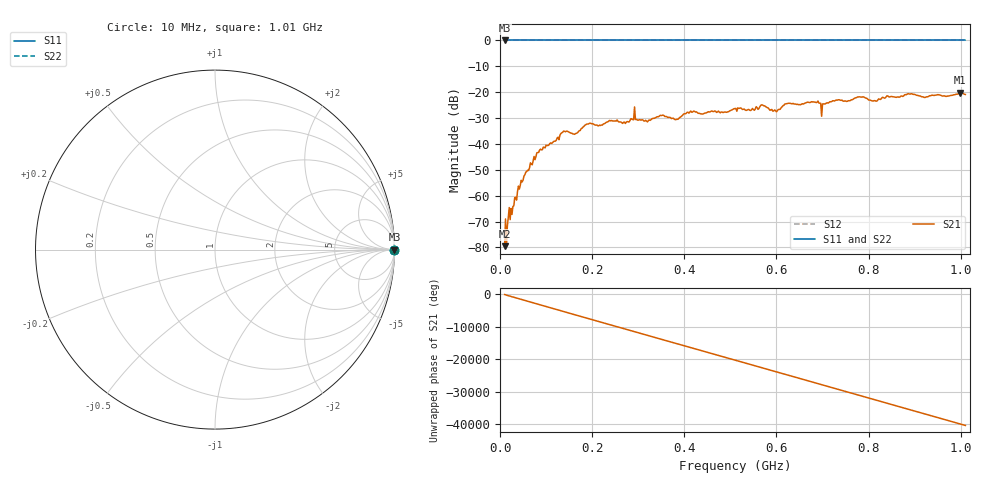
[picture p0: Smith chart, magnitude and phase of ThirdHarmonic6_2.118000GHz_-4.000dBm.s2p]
! 8/17/2025 1:19:12 AM
! C:\ANRITSUVNA\TEMP\TEMP.S2P
! CHANNEL.1
! TR.MEASUREMENT
! RAW.DATA
! RF.CORRECTION.OFF
! AVERAGING.OFF
! IF.BANDWIDTH: 5KHZ
! SWEEPTYPE:  FREQ.SWEEP(Linear)
! Reference Plane Port Info
! PORT:  PORT1  PORT2
! DISTANCE:  0  m  0  m
! TIME:  0  s  0  s
! PHASE.OFFSET:  0  deg.  0  deg.
! LOSS:  0  dB  0  dB
! REF.LOSS:  0  dB  0  dB
! REF.FREQ:  0  Hz  0  Hz
! Power Info
! POWER:  -20  dBm  -20  dBm
! EFF.POWER:  -20  dBm  -20  dBm
! SOURCE.ATTEN:  0  dB  0  dB
! TEST.ATTEN:  0  dB  0  dB
# GHZ S RI R 50.0
! FREQ.GHZ  S11RE  S11IM  S21RE  S21IM  S12RE  S12IM  S22RE  S22IM
!; PortSelection: Port_12
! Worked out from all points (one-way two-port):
!   501 points, 10 MHz to 1.01 GHz, reference 50 ohm
!   highest |S21| = -20.18 dB at 998 MHz (marker M1); lowest = -79.5 dB at 10 MHz (marker M2)
!   lowest |S11| = 0.0 dB at 10 MHz (marker M3)
!   |S11| at or under -10 dB: nowhere
!   |S22| runs from 0.0 to 0.0 dB; largest |S21 - S12| = 1.1
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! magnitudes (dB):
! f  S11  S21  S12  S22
! 10 MHz  0.0  -79.5  0.0  0.0
! 20 MHz  0.0  -64.6  0.0  0.0
! 42 MHz  0.0  -57.5  0.0  0.0
! 84 MHz  0.0  -43.3  0.0  0.0
! 136 MHz  0.0  -35.5  0.0  0.0
! 162 MHz  0.0  -36.3  0.0  0.0
! 178 MHz  0.0  -33.9  0.0  0.0
! 288 MHz  0.0  -30.6  0.0  0.0
! 316 MHz  0.0  -30.9  0.0  0.0
! 344 MHz  0.0  -29.5  0.0  0.0
! 382 MHz  0.0  -30.6  0.0  0.0
! 410 MHz  0.0  -28.1  0.0  0.0
! 510 MHz  0.0  -26.3  0.0  0.0
! 570 MHz  0.0  -24.9  0.0  0.0
! 596 MHz  0.0  -26.9  0.0  0.0
! 622 MHz  0.0  -24.5  0.0  0.0
! 678 MHz  0.0  -23.8  0.0  0.0
! 702 MHz  0.0  -24.5  0.0  0.0
! 732 MHz  0.0  -23.1  0.0  0.0
! 844 MHz  0.0  -21.8  0.0  0.0
! 998 MHz  0.0  -20.2  0.0  0.0
! 1.01 GHz  0.0  -20.9  0.0  0.0
